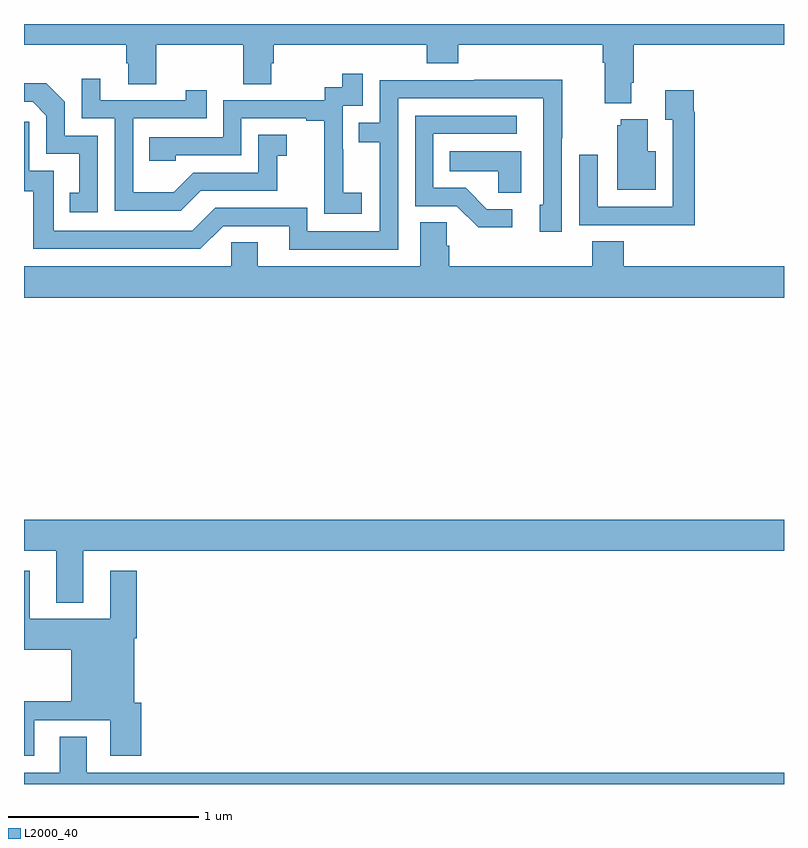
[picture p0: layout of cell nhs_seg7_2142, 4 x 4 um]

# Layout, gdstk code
import gdstk
lib = gdstk.Library(unit=1e-6, precision=1e-09)
def P(c, l, *ps):  # polygons
    for p in ps: c.add(gdstk.Polygon(p, *l))
L2000_40 = (2000, 40)

nhs_seg7_2142 = lib.new_cell('nhs_seg7_2142')
P(nhs_seg7_2142, L2000_40, [(254.197,1057.69),(254.21,1057.69),(254.21,1057.892),(255,1057.892),(255,1058),(251,1058),(251,1057.892),(251.537,1057.892),(251.537,1057.794),(251.549,1057.794),(251.549,1057.684),(251.697,1057.684),(251.697,1057.892),(252.154,1057.892),(252.154,1057.684),(252.301,1057.684),(252.301,1057.794),(252.314,1057.794),(252.314,1057.892),(253.121,1057.892),(253.121,1057.793),(253.286,1057.793),(253.286,1057.892),(254.045,1057.892),(254.045,1057.796),(254.057,1057.796),(254.057,1057.583),(254.197,1057.583)],
  [(252.778,1057.111),(252.68,1057.111),(252.68,1057.34),(252.678,1057.34),(252.678,1057.569),(252.783,1057.569),(252.783,1057.738),(252.675,1057.738),(252.675,1057.668),(252.582,1057.668),(252.582,1057.599),(252.048,1057.599),(252.048,1057.404),(251.659,1057.404),(251.659,1057.281),(251.799,1057.281),(251.799,1057.308),(252.144,1057.308),(252.144,1057.503),(252.485,1057.503),(252.485,1057.491),(252.581,1057.491),(252.581,1057.207),(252.58,1057.207),(252.58,1057.001),(252.778,1057.001)],
  [(251.929,1057.122),(252.333,1057.122),(252.333,1057.307),(252.382,1057.307),(252.382,1057.417),(252.234,1057.417),(252.234,1057.218),(251.892,1057.218),(251.788,1057.114),(251.574,1057.114),(251.574,1057.503),(251.963,1057.503),(251.963,1057.651),(251.852,1057.651),(251.852,1057.599),(251.401,1057.599),(251.401,1057.711),(251.304,1057.711),(251.304,1057.503),(251.478,1057.503),(251.478,1057.017),(251.824,1057.017)],
  [(252.969,1057.608),(253.734,1057.608),(253.734,1057.05),(253.715,1057.05),(253.715,1056.906),(253.83,1056.906),(253.83,1057.399),(253.833,1057.399),(253.833,1057.706),(253.369,1057.706),(253.369,1057.704),(252.873,1057.704),(252.873,1057.479),(252.763,1057.479),(252.763,1057.378),(252.873,1057.378),(252.873,1056.909),(252.492,1056.909),(252.492,1057.032),(252.006,1057.032),(251.886,1056.912),(251.157,1056.912),(251.157,1057.227),(251.028,1057.227),(251.028,1057.486),(251,1057.486),(251,1057.119),(251.049,1057.119),(251.049,1056.816),(251.928,1056.816),(252.048,1056.936),(252.395,1056.936),(252.395,1056.813),(252.969,1056.813)],
  [(251.388,1057.413),(251.214,1057.413),(251.214,1057.59),(251.116,1057.688),(251,1057.688),(251,1057.59),(251.046,1057.59),(251.118,1057.518),(251.118,1057.317),(251.291,1057.317),(251.291,1057.113),(251.242,1057.113),(251.242,1057.008),(251.388,1057.008)],
  [(254.531,1057.538),(254.524,1057.538),(254.524,1057.651),(254.375,1057.651),(254.375,1057.495),(254.415,1057.495),(254.415,1057.038),(254.019,1057.038),(254.019,1057.312),(253.923,1057.312),(253.923,1056.942),(254.239,1056.942),(254.239,1056.941),(254.531,1056.941)],
  [(253.57,1057.026),(253.435,1057.026),(253.324,1057.137),(253.155,1057.137),(253.155,1057.422),(253.594,1057.422),(253.594,1057.518),(253.059,1057.518),(253.059,1057.041),(253.278,1057.041),(253.391,1056.929),(253.57,1056.929)],
  [(254.326,1057.33),(254.284,1057.33),(254.284,1057.498),(254.141,1057.498),(254.141,1057.467),(254.123,1057.467),(254.123,1057.127),(254.326,1057.127)],
  [(253.618,1057.33),(253.24,1057.33),(253.24,1057.226),(253.497,1057.226),(253.497,1057.111),(253.618,1057.111)],
  [(255,1056.724),(254.156,1056.724),(254.156,1056.857),(253.991,1056.857),(253.991,1056.724),(253.238,1056.724),(253.238,1056.833),(253.224,1056.833),(253.224,1056.956),(253.085,1056.956),(253.085,1056.724),(252.229,1056.724),(252.229,1056.851),(252.09,1056.851),(252.09,1056.724),(251,1056.724),(251,1056.56),(255,1056.56)],
  [(251.311,1055.228),(255,1055.228),(255,1055.392),(251,1055.392),(251,1055.228),(251.171,1055.228),(251.171,1054.955),(251.311,1054.955)],
  [(251.053,1054.335),(251.453,1054.335),(251.453,1054.149),(251.618,1054.149),(251.618,1054.428),(251.581,1054.428),(251.581,1054.766),(251.594,1054.766),(251.594,1055.122),(251.453,1055.122),(251.453,1054.87),(251.029,1054.87),(251.029,1055.122),(251,1055.122),(251,1054.706),(251.249,1054.706),(251.249,1054.436),(251,1054.436),(251,1054.149),(251.053,1054.149)],
  [(255,1054.06),(251.329,1054.06),(251.329,1054.25),(251.189,1054.25),(251.189,1054.06),(251,1054.06),(251,1054),(255,1054)])

lib.write_gds('nhs_seg7_2142.gds')
